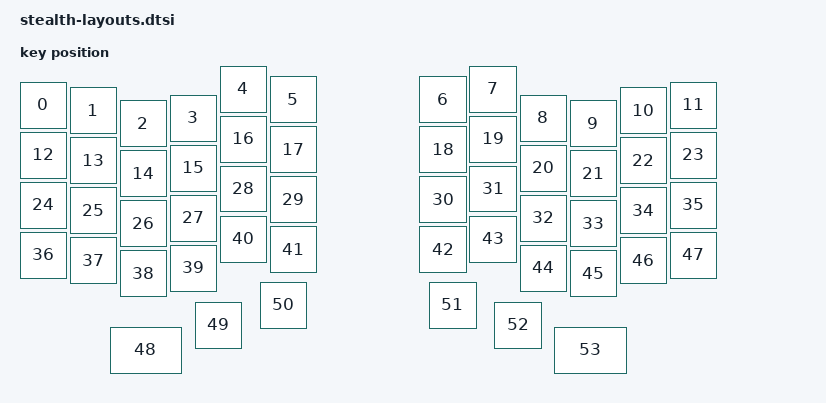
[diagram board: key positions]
#include <physical_layouts.dtsi>

/ {
    physical_layout0: physical_layout_0 {
        compatible = "zmk,physical-layout";
        display-name = "Default Layout";

        // Positions below are approximate (in 1/100ths of a key unit) and
        // mirror the column stagger from ergo/config.yaml. They only need to
        // be close enough for ZMK Studio's visual editor - the actual key
        // order/count is what matters functionally, and that matches the
        // &default_transform map in stealth.dtsi exactly (4 rows x 12 cols,
        // then the 6 thumb keys).
        keys  =
            // Row 1 (top)
            <&key_physical_attrs 100 100    0    0 0 0 0>
          , <&key_physical_attrs 100 100  100   11 0 0 0>
          , <&key_physical_attrs 100 100  200   37 0 0 0>
          , <&key_physical_attrs 100 100  300   26 0 0 0>
          , <&key_physical_attrs 100 100  400 (-32) 0 0 0>
          , <&key_physical_attrs 100 100  500 (-11) 0 0 0>
          , <&key_physical_attrs 100 100  800 (-11) 0 0 0>
          , <&key_physical_attrs 100 100  900 (-32) 0 0 0>
          , <&key_physical_attrs 100 100 1000   26 0 0 0>
          , <&key_physical_attrs 100 100 1100   37 0 0 0>
          , <&key_physical_attrs 100 100 1200   11 0 0 0>
          , <&key_physical_attrs 100 100 1300    0 0 0 0>

            // Row 2
          , <&key_physical_attrs 100 100    0  100 0 0 0>
          , <&key_physical_attrs 100 100  100  111 0 0 0>
          , <&key_physical_attrs 100 100  200  137 0 0 0>
          , <&key_physical_attrs 100 100  300  126 0 0 0>
          , <&key_physical_attrs 100 100  400   68 0 0 0>
          , <&key_physical_attrs 100 100  500   89 0 0 0>
          , <&key_physical_attrs 100 100  800   89 0 0 0>
          , <&key_physical_attrs 100 100  900   68 0 0 0>
          , <&key_physical_attrs 100 100 1000  126 0 0 0>
          , <&key_physical_attrs 100 100 1100  137 0 0 0>
          , <&key_physical_attrs 100 100 1200  111 0 0 0>
          , <&key_physical_attrs 100 100 1300  100 0 0 0>

            // Row 3 (home)
          , <&key_physical_attrs 100 100    0  200 0 0 0>
          , <&key_physical_attrs 100 100  100  211 0 0 0>
          , <&key_physical_attrs 100 100  200  237 0 0 0>
          , <&key_physical_attrs 100 100  300  226 0 0 0>
          , <&key_physical_attrs 100 100  400  168 0 0 0>
          , <&key_physical_attrs 100 100  500  189 0 0 0>
          , <&key_physical_attrs 100 100  800  189 0 0 0>
          , <&key_physical_attrs 100 100  900  168 0 0 0>
          , <&key_physical_attrs 100 100 1000  226 0 0 0>
          , <&key_physical_attrs 100 100 1100  237 0 0 0>
          , <&key_physical_attrs 100 100 1200  211 0 0 0>
          , <&key_physical_attrs 100 100 1300  200 0 0 0>

            // Row 4 (bottom)
          , <&key_physical_attrs 100 100    0  300 0 0 0>
          , <&key_physical_attrs 100 100  100  311 0 0 0>
          , <&key_physical_attrs 100 100  200  337 0 0 0>
          , <&key_physical_attrs 100 100  300  326 0 0 0>
          , <&key_physical_attrs 100 100  400  268 0 0 0>
          , <&key_physical_attrs 100 100  500  289 0 0 0>
          , <&key_physical_attrs 100 100  800  289 0 0 0>
          , <&key_physical_attrs 100 100  900  268 0 0 0>
          , <&key_physical_attrs 100 100 1000  326 0 0 0>
          , <&key_physical_attrs 100 100 1100  337 0 0 0>
          , <&key_physical_attrs 100 100 1200  311 0 0 0>
          , <&key_physical_attrs 100 100 1300  300 0 0 0>

            // Thumb row: left far/home/near, then right near/home/far
          , <&key_physical_attrs 150 100  180  490 0 0 0>
          , <&key_physical_attrs 100 100  350  440 0 0 0>
          , <&key_physical_attrs 100 100  480  400 0 0 0>
          , <&key_physical_attrs 100 100  820  400 0 0 0>
          , <&key_physical_attrs 100 100  950  440 0 0 0>
          , <&key_physical_attrs 150 100 1070  490 0 0 0>
          ;
    };
};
